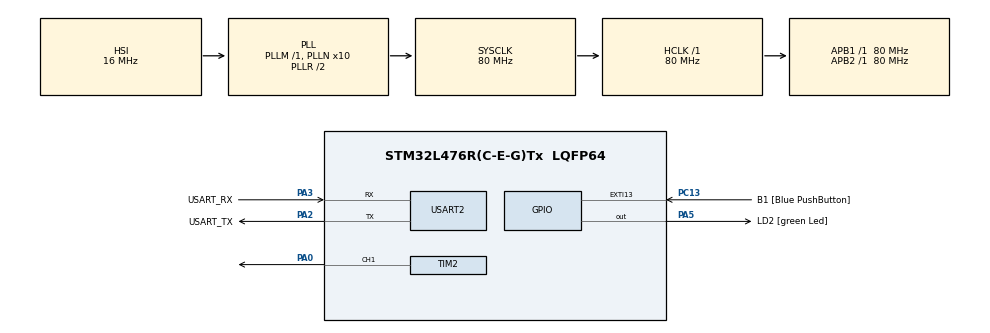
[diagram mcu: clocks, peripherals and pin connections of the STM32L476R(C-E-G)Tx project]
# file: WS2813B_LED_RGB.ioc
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Mcu.Family=STM32L4
PA2.GPIO_PuPd=GPIO_NOPULL
Dma.TIM2_CH1.0.MemInc=DMA_MINC_ENABLE
RCC.CortexFreq_Value=80000000
NVIC.DMA1_Channel5_IRQn=true\:0\:0\:false\:false\:true\:false\:true
TIM2.OCFastMode_PWM-PWM\ Generation1\ CH1=TIM_OCFAST_DISABLE
PH0-OSC_IN\ (PH0).Signal=RCC_OSC_IN
PA3.GPIO_PuPd=GPIO_NOPULL
PA2.GPIO_Speed=GPIO_SPEED_FREQ_VERY_HIGH
Dma.TIM2_CH1.0.Instance=DMA1_Channel5
PC15-OSC32_OUT\ (PC15).Mode=LSE-External-Oscillator
PC13.GPIO_Label=B1 [Blue PushButton]
PA3.GPIO_Speed=GPIO_SPEED_FREQ_VERY_HIGH
RCC.SYSCLKSource=RCC_SYSCLKSOURCE_PLLCLK
ProjectManager.StackSize=0x400
PB3\ (JTDO-TRACESWO).Signal=SYS_JTDO-SWO
PC14-OSC32_IN\ (PC14).Mode=LSE-External-Oscillator
PA14\ (JTCK-SWCLK).Signal=SYS_JTCK-SWCLK
RCC.HCLKFreq_Value=80000000
RCC.APB2TimFreq_Value=80000000
RCC.AHBFreq_Value=80000000
RCC.PREFETCH_ENABLE=1
RCC.HSE_VALUE=8000000
USART2.VirtualMode-Asynchronous=VM_ASYNC
PA5.GPIO_PuPd=GPIO_NOPULL
PC13.GPIO_PuPd=GPIO_NOPULL
TIM2.Channel-PWM\ Generation1\ CH1=TIM_CHANNEL_1
PA0.Signal=S_TIM2_CH1
Mcu.Package=LQFP64
TIM2.Prescaler=0
PA2.GPIO_Label=USART_TX
Dma.TIM2_CH1.0.PeriphDataAlignment=DMA_PDATAALIGN_WORD
RCC.APB1TimFreq_Value=80000000
PA13\ (JTMS-SWDIO).Signal=SYS_JTMS-SWDIO
Dma.Request0=TIM2_CH1
Dma.TIM2_CH1.0.Direction=DMA_MEMORY_TO_PERIPH
PA3.Signal=USART2_RX
PA2.GPIO_Mode=GPIO_MODE_AF_PP
RCC.MSI_VALUE=4000000
RCC.PLLSourceVirtual=RCC_PLLSOURCE_HSI
PA14\ (JTCK-SWCLK).Mode=Serial_Wire
SH.S_TIM2_CH1.0=TIM2_CH1,PWM Generation1 CH1
PC13.Signal=GPXTI13
PC15-OSC32_OUT\ (PC15).Signal=RCC_OSC32_OUT
PA14\ (JTCK-SWCLK).GPIO_Label=TCK
PB3\ (JTDO-TRACESWO).GPIO_Label=SWO
PH1-OSC_OUT\ (PH1).Signal=RCC_OSC_OUT
PA3.Mode=Asynchronous
ProjectManager.TargetToolchain=STM32CubeIDE
PA3.GPIO_Mode=GPIO_MODE_AF_PP
RCC.USBFreq_Value=64000000
PA5.Signal=GPIO_Output
board=NUCLEO-L476RG
RCC.VCOOutputFreq_Value=160000000
RCC.APB2Freq_Value=80000000
Dma.TIM2_CH1.0.Priority=DMA_PRIORITY_LOW
PA5.GPIO_ModeDefaultOutputPP=GPIO_MODE_OUTPUT_PP
PA13\ (JTMS-SWDIO).GPIO_Label=TMS
RCC.ADCFreq_Value=64000000
TIM2.Period=100-1
Mcu.Name=STM32L476R(C-E-G)Tx
PA2.Signal=USART2_TX
PA13\ (JTMS-SWDIO).Mode=Serial_Wire
RCC.SYSCLKFreq_VALUE=80000000
Dma.TIM2_CH1.0.Mode=DMA_NORMAL
PA5.GPIO_Label=LD2 [green Led]
PC13.GPIO_ModeDefaultEXTI=GPIO_MODE_IT_FALLING
PC14-OSC32_IN\ (PC14).Signal=RCC_OSC32_IN
Dma.TIM2_CH1.0.MemDataAlignment=DMA_MDATAALIGN_BYTE
ProjectManager.HeapSize=0x200
RCC.HSI_VALUE=16000000
PA5.GPIO_Speed=GPIO_SPEED_FREQ_LOW
NVIC.PriorityGroup=NVIC_PRIORITYGROUP_4
RCC.PLLN=10
PA2.Mode=Asynchronous
RCC.APB1Freq_Value=80000000
Dma.TIM2_CH1.0.PeriphInc=DMA_PINC_DISABLE
PA3.GPIO_Label=USART_RX

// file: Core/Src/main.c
/* USER CODE BEGIN Header */
/**
  ******************************************************************************
  * @file           : main.c
  * @brief          : Main program body
  ******************************************************************************
  * @attention
  *
  * <h2><center>&copy; Copyright (c) 2021 STMicroelectronics.
  * All rights reserved.</center></h2>
  *
  * This software component is licensed by ST under BSD 3-Clause license,
  * the "License"; You may not use this file except in compliance with the
  * License. You may obtain a copy of the License at:
  *                        opensource.org/licenses/BSD-3-Clause
  *
  ******************************************************************************
  */
/* USER CODE END Header */
#include "main.h"
#include "dma.h"
#include "tim.h"
#include "usart.h"
#include "gpio.h"

/* USER CODE BEGIN Includes */
#include "led_ws2813b.h"
/* USER CODE END Includes */

void SystemClock_Config(void);

/* USER CODE BEGIN 0 */
void HAL_TIM_PWM_PulseFinishedCallback(TIM_HandleTypeDef *htim)
{
	if(TIM2 == htim->Instance)
	{
		HAL_TIM_PWM_Stop(&htim2, TIM_CHANNEL_1);
	}
}
/* USER CODE END 0 */

int main(void)
{

  /* MCU Configuration--------------------------------------------------------*/

  /* Reset of all peripherals, Initializes the Flash interface and the Systick. */
  HAL_Init();

  /* Configure the system clock */
  SystemClock_Config();

  /* Initialize all configured peripherals */
  MX_GPIO_Init();
  MX_DMA_Init();
  MX_USART2_UART_Init();
  MX_TIM2_Init();
  /* USER CODE BEGIN 2 */
  led_init();

  uint32_t time;
  uint32_t time_max_ms = 100;
  uint8_t state = 0, led = 0;
  uint8_t g,r,b;

  time = HAL_GetTick();
  /* USER CODE END 2 */

  /* Infinite loop */
  /* USER CODE BEGIN WHILE */
  while (1)
  {
	  if((HAL_GetTick() - time) > time_max_ms)
	  {
		  time = HAL_GetTick();

		  if(0 == state)
		  {
			  g = 255;
			  r = 0;
			  b = 0;
		  }
		  else if (1 == state)
		  {
			  g = 0;
			  r = 255;
			  b = 0;
		  }
		  else if (2 == state)
		  {
			  g = 0;
			  r = 0;
			  b = 255;
		  }

		  led_set_all_led_colors(0, 0, 0);
		  led_set_one_led_colors(led, g, r ,b);
		  led_send_led_colors_to_head();

		  led++;

		  if(led >= NUMBER_OF_LEDS)
		  {
			  led = 0;
			  state++;
		  }

		  if(state >= 3)
		  {
			  state = 0;
		  }
	  }
    /* USER CODE END WHILE */

  }
}

void SystemClock_Config(void)
{
  RCC_OscInitTypeDef RCC_OscInitStruct = {0};
  RCC_ClkInitTypeDef RCC_ClkInitStruct = {0};
  RCC_PeriphCLKInitTypeDef PeriphClkInit = {0};

  /** Initializes the RCC Oscillators according to the specified parameters
  * in the RCC_OscInitTypeDef structure.
  */
  RCC_OscInitStruct.OscillatorType = RCC_OSCILLATORTYPE_HSI;
  RCC_OscInitStruct.HSIState = RCC_HSI_ON;
  RCC_OscInitStruct.HSICalibrationValue = RCC_HSICALIBRATION_DEFAULT;
  RCC_OscInitStruct.PLL.PLLState = RCC_PLL_ON;
  RCC_OscInitStruct.PLL.PLLSource = RCC_PLLSOURCE_HSI;
  RCC_OscInitStruct.PLL.PLLM = 1;
  RCC_OscInitStruct.PLL.PLLN = 10;
  RCC_OscInitStruct.PLL.PLLP = RCC_PLLP_DIV7;
  RCC_OscInitStruct.PLL.PLLQ = RCC_PLLQ_DIV2;
  RCC_OscInitStruct.PLL.PLLR = RCC_PLLR_DIV2;
  if (HAL_RCC_OscConfig(&RCC_OscInitStruct) != HAL_OK)
  {
    Error_Handler();
  }
  /** Initializes the CPU, AHB and APB buses clocks
  */
  RCC_ClkInitStruct.ClockType = RCC_CLOCKTYPE_HCLK|RCC_CLOCKTYPE_SYSCLK
                              |RCC_CLOCKTYPE_PCLK1|RCC_CLOCKTYPE_PCLK2;
  RCC_ClkInitStruct.SYSCLKSource = RCC_SYSCLKSOURCE_PLLCLK;
  RCC_ClkInitStruct.AHBCLKDivider = RCC_SYSCLK_DIV1;
  RCC_ClkInitStruct.APB1CLKDivider = RCC_HCLK_DIV1;
  RCC_ClkInitStruct.APB2CLKDivider = RCC_HCLK_DIV1;

  if (HAL_RCC_ClockConfig(&RCC_ClkInitStruct, FLASH_LATENCY_4) != HAL_OK)
  {
    Error_Handler();
  }
  PeriphClkInit.PeriphClockSelection = RCC_PERIPHCLK_USART2;
  PeriphClkInit.Usart2ClockSelection = RCC_USART2CLKSOURCE_PCLK1;
  if (HAL_RCCEx_PeriphCLKConfig(&PeriphClkInit) != HAL_OK)
  {
    Error_Handler();
  }
  /** Configure the main internal regulator output voltage
  */
  if (HAL_PWREx_ControlVoltageScaling(PWR_REGULATOR_VOLTAGE_SCALE1) != HAL_OK)
  {
    Error_Handler();
  }
}

void Error_Handler(void)
{
  __disable_irq();
  while (1)
  {
  }
}

/************************ (C) COPYRIGHT STMicroelectronics *****END OF FILE****/
